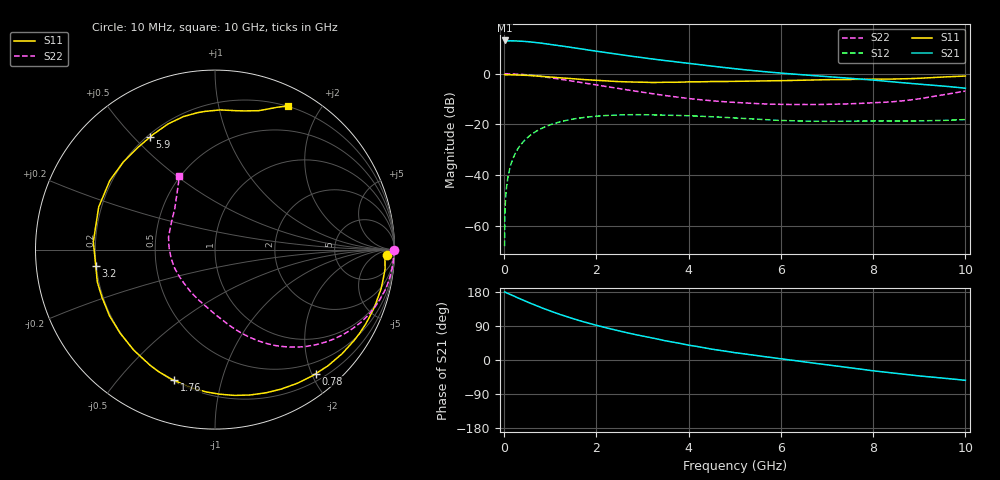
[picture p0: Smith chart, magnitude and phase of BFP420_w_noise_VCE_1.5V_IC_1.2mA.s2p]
! Infineon Technologies  Discrete & RF Semiconductors
! BFP420
! VCE =  1.5 V,  IC =  1.2 mA
! Common Emitter S-Parameters:  Jan 2016
# GHz  S  MA  R  50
!  f  S11  S21  S12  S22
! GHz  MAG  ANG  MAG  ANG  MAG  ANG  MAG  ANG
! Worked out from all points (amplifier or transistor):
!   233 points, 10 MHz to 10 GHz, reference 50 ohm
!   highest |S21| = 13.1 dB at 10 MHz (marker M1)
!   |S21| within 3 dB of that: start of sweep to 1.551 GHz
!   unconditionally stable (mu >= 1): 4.216 GHz to end of sweep
!   at 200 MHz: K = 0.01, MSG = 23.0 dB, |S12| = -33.0 dB
!   at 1.74 GHz: K = 0.31, MSG = 13.4 dB, |S12| = -17.2 dB
!   at 10 GHz: K = 1.30, MAG = 2.9 dB, |S12| = -18.1 dB
!   lowest NFmin = 0.53 dB at 900 MHz
!   S11 on the Smith chart (normalised r, x): 10 MHz: 32, -22; 780 MHz: 0.31, -2.06; 1.76 GHz: 0.21, -0.72; 3.2 GHz: 0.20, -0.06; 5.9 GHz: 0.21, +0.56; 10 GHz: 0.20, +1.61
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0.01  0.9588 -1.7  4.513 179.5  0.0004 97.2  0.9965 -0.1
0.015  0.9548 -1.5  4.442 179.5  0.0013 92.9  0.9962 -0.4
0.02  0.9509 -1.3  4.372 179.4  0.0023 92.1  0.996 -0.7
0.03  0.95 -1.9  4.385 178.7  0.0034 89.7  0.996 -1.1
0.07  0.9501 -4.6  4.421 176.3  0.0078 86.9  0.9956 -2.8
0.14  0.9516 -9.2  4.438 172.6  0.0157 84.5  0.9928 -5.6
0.28  0.9447 -18.4  4.397 164.9  0.0312 78.9  0.9809 -11.1
0.48  0.9282 -31.6  4.295 154.4  0.0525 70.8  0.9516 -18.7
0.78  0.8907 -50.9  4.023 139.4  0.0808 59.2  0.8877 -29.3
1  0.8602 -64.6  3.793 129.2  0.0985 51.4  0.8337 -36.4
1.2  0.8331 -76.5  3.569 120.6  0.112 44.7  0.7828 -42.2
1.68  0.7714 -103.2  3.07 102.3  0.1355 30.7  0.6676 -54.1
1.76  0.7627 -107.3  2.989 99.5  0.1383 28.6  0.6503 -55.9
2.4  0.7045 -138.6  2.457 79.3  0.1532 13.5  0.5242 -68.6
3.2  0.6706 -172.3  1.955 58.4  0.1545 -1.1  0.4054 -82.4
3.4  0.6734 -180.0  1.855 53.3  0.1536 -4.3  0.3813 -86.2
4  0.6901 159.9  1.6 39.2  0.1487 -12.1  0.3242 -98.1
5.1  0.7064 134.4  1.225 17.9  0.1329 -21.7  0.2681 -121.9
5.9  0.7239 120.0  1.045 4.8  0.1211 -24.5  0.2497 -140.5
6.8  0.7545 106.2  0.904 -9.5  0.1157 -24.6  0.2468 -162.9
8.4  0.7829 81.2  0.693 -34.1  0.1172 -26.4  0.2791 152.4
10  0.8979 63.0  0.517 -53.6  0.1247 -26.4  0.4543 115.9
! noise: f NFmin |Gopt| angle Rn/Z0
0.9  0.53  0.62  33  0.31
1.8  1.1  0.4  77  0.24
2.4  1.23  0.41  100  0.2
3  1.51  0.41  132  0.14
4  1.8  0.44  -175  0.09
5  2.23  0.45  -132  0.38
6  3.18  0.57  -116  0.44
